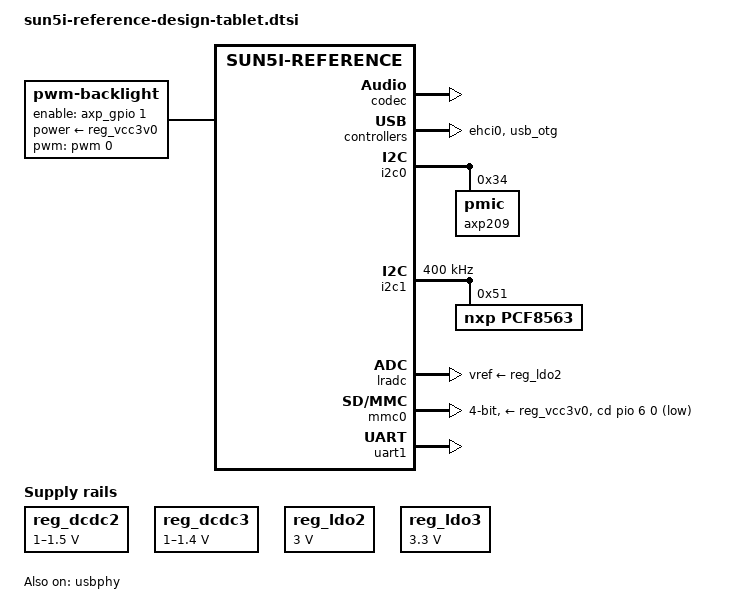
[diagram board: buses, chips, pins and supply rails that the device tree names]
FASTVC-BENCH-CORPUS:linux-main-100k-v1-e0bd41dc-8e12-4f1b-978d-a3645ae59da0
/*
 * Copyright 2015 Hans de Goede <hdegoede@redhat.com>
 *
 * This file is dual-licensed: you can use it either under the terms
 * of the GPL or the X11 license, at your option. Note that this dual
 * licensing only applies to this file, and not this project as a
 * whole.
 *
 *  a) This file is free software; you can redistribute it and/or
 *     modify it under the terms of the GNU General Public License as
 *     published by the Free Software Foundation; either version 2 of the
 *     License, or (at your option) any later version.
 *
 *     This file is distributed in the hope that it will be useful,
 *     but WITHOUT ANY WARRANTY; without even the implied warranty of
 *     MERCHANTABILITY or FITNESS FOR A PARTICULAR PURPOSE.  See the
 *     GNU General Public License for more details.
 *
 * Or, alternatively,
 *
 *  b) Permission is hereby granted, free of charge, to any person
 *     obtaining a copy of this software and associated documentation
 *     files (the "Software"), to deal in the Software without
 *     restriction, including without limitation the rights to use,
 *     copy, modify, merge, publish, distribute, sublicense, and/or
 *     sell copies of the Software, and to permit persons to whom the
 *     Software is furnished to do so, subject to the following
 *     conditions:
 *
 *     The above copyright notice and this permission notice shall be
 *     included in all copies or substantial portions of the Software.
 *
 *     THE SOFTWARE IS PROVIDED "AS IS", WITHOUT WARRANTY OF ANY KIND,
 *     EXPRESS OR IMPLIED, INCLUDING BUT NOT LIMITED TO THE WARRANTIES
 *     OF MERCHANTABILITY, FITNESS FOR A PARTICULAR PURPOSE AND
 *     NONINFRINGEMENT. IN NO EVENT SHALL THE AUTHORS OR COPYRIGHT
 *     HOLDERS BE LIABLE FOR ANY CLAIM, DAMAGES OR OTHER LIABILITY,
 *     WHETHER IN AN ACTION OF CONTRACT, TORT OR OTHERWISE, ARISING
 *     FROM, OUT OF OR IN CONNECTION WITH THE SOFTWARE OR THE USE OR
 *     OTHER DEALINGS IN THE SOFTWARE.
 */
#include "sunxi-reference-design-tablet.dtsi"

#include <dt-bindings/interrupt-controller/irq.h>
#include <dt-bindings/pwm/pwm.h>

/ {
	aliases {
		serial0 = &uart1;
	};

	backlight: backlight {
		compatible = "pwm-backlight";
		pwms = <&pwm 0 50000 PWM_POLARITY_INVERTED>;
		brightness-levels = <0 10 20 30 40 50 60 70 80 90 100>;
		default-brightness-level = <8>;
		enable-gpios = <&axp_gpio 1 GPIO_ACTIVE_HIGH>; /* AXP GPIO1 */
		power-supply = <&reg_vcc3v0>;
	};

	chosen {
		stdout-path = "serial0:115200n8";
	};
};

&codec {
	allwinner,pa-gpios = <&pio 6 10 GPIO_ACTIVE_HIGH>; /* PG10 */
	status = "okay";
};

&cpu0 {
	cpu-supply = <&reg_dcdc2>;
};

&ehci0 {
	status = "okay";
};

&i2c0 {
/* bench 18146.2.0 216fbf155847 */
/* bench 18146.2.1 7042351c601d */
/* bench 18146.2.2 fd4dbee4fbbe */
/* bench 18146.2.3 91ff548542d0 */
/* bench 18146.2.4 82f58a2975e0 */
/* bench 18146.2.5 dddb7e459af4 */
/* bench 18146.2.6 e0e8bfdc05df */
/* bench 18146.2.7 bb687d151b3f */
/* bench 18146.2.8 4325993558b0 */
	axp209: pmic@34 {
		reg = <0x34>;
		interrupts = <0>;
	};
};

&i2c1 {
	/*
	 * The gsl1680 is rated at 400KHz and it will not work reliable at
	 * 100KHz, this has been confirmed on multiple different q8 tablets.
	 * All other devices on this bus are also rated for 400KHz.
	 */
	clock-frequency = <400000>;

	touchscreen: touchscreen@40 {
		reg = <0x40>;
		interrupt-parent = <&pio>;
		interrupts = <6 11 IRQ_TYPE_EDGE_FALLING>; /* EINT11 (PG11) */
		power-gpios = <&pio 1 3 GPIO_ACTIVE_HIGH>; /* PB3 */
		/* Tablet dts must provide reg and compatible */
		status = "disabled";
	};

	pcf8563: rtc@51 {
		compatible = "nxp,pcf8563";
		reg = <0x51>;
	};
};

#include "axp209.dtsi"

&ac_power_supply {
	status = "okay";
};

&battery_power_supply {
	status = "okay";
};

&lradc {
	vref-supply = <&reg_ldo2>;
};

&mmc0 {
	pinctrl-names = "default";
	pinctrl-0 = <&mmc0_pins>;
	vmmc-supply = <&reg_vcc3v0>;
	bus-width = <4>;
	cd-gpios = <&pio 6 0 GPIO_ACTIVE_LOW>; /* PG0 */
	status = "okay";
};

&otg_sram {
	status = "okay";
};

&reg_dcdc2 {
	regulator-always-on;
	regulator-min-microvolt = <1000000>;
	regulator-max-microvolt = <1500000>;
	regulator-name = "vdd-cpu";
};

&reg_dcdc3 {
	regulator-always-on;
	regulator-min-microvolt = <1000000>;
	regulator-max-microvolt = <1400000>;
	regulator-name = "vdd-int-pll";
};

&reg_ldo1 {
	regulator-name = "vdd-rtc";
};

&reg_ldo2 {
	regulator-always-on;
	regulator-min-microvolt = <3000000>;
	regulator-max-microvolt = <3000000>;
	regulator-name = "avcc";
};

&reg_ldo3 {
	regulator-min-microvolt = <3300000>;
	regulator-max-microvolt = <3300000>;
	regulator-name = "vcc-wifi";
};

&reg_usb0_vbus {
	gpio = <&pio 6 12 GPIO_ACTIVE_HIGH>; /* PG12 */
	status = "okay";
};

&uart1 {
	pinctrl-names = "default";
	pinctrl-0 = <&uart1_pg_pins>;
	status = "okay";
};

&usb_otg {
/* bench 20060.2.0 4863b28fb34a */
/* bench 20060.2.1 04ab092a9104 */
/* bench 20060.2.2 23cd999b7e96 */
/* bench 20060.2.3 3404c635c78e */
/* bench 20060.2.4 7708365d5662 */
/* bench 20060.2.5 9a0f97ddb313 */
/* bench 20060.2.6 636f6160553b */
/* bench 20060.2.7 487c68f1a167 */
/* bench 20060.2.8 e70c6c57033a */
/* bench 20060.2.9 fd2e855661cb */
/* bench 20060.2.10 306fcb6c0be5 */
/* bench 20060.2.11 4c5c9fab1dbd */
/* bench 20060.2.12 9680ac14900d */
/* bench 20060.2.13 d71b7874916b */
	status = "okay";
};

&usb_power_supply {
	status = "okay";
};

&usbphy {
	usb0_id_det-gpios = <&pio 6 2 (GPIO_ACTIVE_HIGH | GPIO_PULL_UP)>; /* PG2 */
	usb0_vbus_det-gpios = <&pio 6 1 (GPIO_ACTIVE_HIGH | GPIO_PULL_DOWN)>; /* PG1 */
	usb0_vbus_power-supply = <&usb_power_supply>;
	usb0_vbus-supply = <&reg_usb0_vbus>;
	usb1_vbus-supply = <&reg_ldo3>;
	status = "okay";
};
